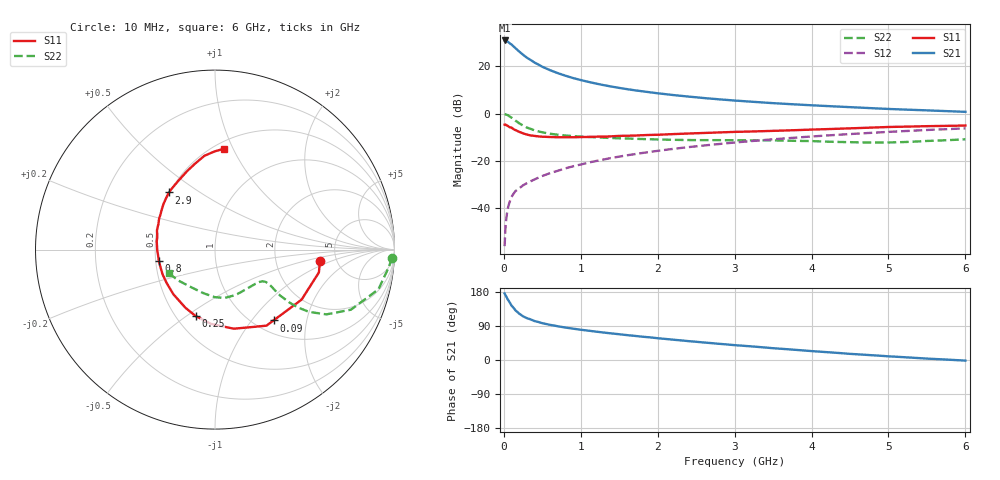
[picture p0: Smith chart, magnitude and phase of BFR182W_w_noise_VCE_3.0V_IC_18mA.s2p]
! Infineon Technologies  Discrete & RF Semiconductors
! BFR182W
! VCE =  3.0 V,  IC =  18 mA
! Common Emitter S-Parameters:  Jan 2017
# GHz  S  MA  R  50
!  f  S11  S21  S12  S22
! GHz  MAG  ANG  MAG  ANG  MAG  ANG  MAG  ANG
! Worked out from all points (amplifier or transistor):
!   77 points, 10 MHz to 6 GHz, reference 50 ohm
!   highest |S21| = 31.0 dB at 10 MHz (marker M1)
!   |S21| within 3 dB of that: start of sweep to 142.6 MHz
!   unconditionally stable (mu >= 1): 818.8 MHz to 2.4 GHz
!   at 130 MHz: K = 0.40, MSG = 31.0 dB, |S12| = -33.6 dB
!   at 2.2 GHz: K = 1.01, MAG = 10.7 dB, |S12| = -14.8 dB
!   at 6 GHz: K = 0.87, MSG = 3.5 dB, |S12| = -6.2 dB
!   lowest NFmin = 1.34 dB at 450 MHz
!   S11 on the Smith chart (normalised r, x): 10 MHz: 3.71, -0.71; 90 MHz: 1.21, -1.29; 250 MHz: 0.62, -0.54; 800 MHz: 0.52, -0.07; 2.9 GHz: 0.50, +0.38; 6 GHz: 0.56, +0.92
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0.01  0.5882 -6.1  35.28 175.6  0.0016 87.3  0.986 -2.6
0.02  0.5927 -12.4  35.28 171.8  0.0037 93.5  0.9745 -5.6
0.05  0.5573 -30.0  33.42 160.0  0.0098 76.7  0.9371 -13.7
0.09  0.512 -50.4  29.63 147.2  0.0159 71.1  0.8469 -21.7
0.1  0.5118 -55.9  28.95 143.5  0.0175 70.3  0.8272 -23.9
0.15  0.4531 -76.6  24.38 131.2  0.0232 65.3  0.7176 -30.2
0.2  0.4148 -92.9  20.55 122.3  0.0267 63.5  0.6291 -33.5
0.25  0.3854 -106.3  17.62 115.3  0.0308 62.3  0.5628 -34.9
0.3  0.3635 -117.0  15.24 110.3  0.0343 63.4  0.5109 -35.4
0.4  0.3401 -133.0  12.02 102.7  0.0411 64.5  0.4453 -35.2
0.5  0.3275 -145.3  9.83 97.2  0.0485 65.9  0.405 -34.2
0.6  0.323 -154.7  8.332 92.8  0.0557 66.5  0.3785 -33.3
0.8  0.3191 -168.8  6.359 85.6  0.0703 68.7  0.3474 -32.5
0.9  0.3189 -174.4  5.674 82.7  0.0777 68.9  0.3374 -32.5
1.1  0.3238 176.2  4.706 77.4  0.093 69.5  0.3236 -33.3
1.5  0.3407 161.7  3.513 68.0  0.1244 68.7  0.303 -37.1
2.1  0.3656 145.3  2.594 55.6  0.1729 65.8  0.2841 -47.7
2.9  0.4084 128.7  1.958 41.0  0.2383 60.2  0.2765 -65.8
3.1  0.4175 124.8  1.853 37.7  0.2551 58.6  0.2751 -70.2
4.1  0.4683 108.4  1.482 22.1  0.3392 50.0  0.261 -92.9
5.1  0.5294 95.2  1.245 8.6  0.4219 40.4  0.2497 -125.7
6  0.5638 85.0  1.098 -1.6  0.4913 31.1  0.2893 -152.8
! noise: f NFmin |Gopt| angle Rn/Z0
0.45  1.34  0.07  174  0.15
0.9  1.41  0.08  179  0.15
1.9  1.93  0.27  -144  0.15
2.4  2.18  0.27  -129  0.24
